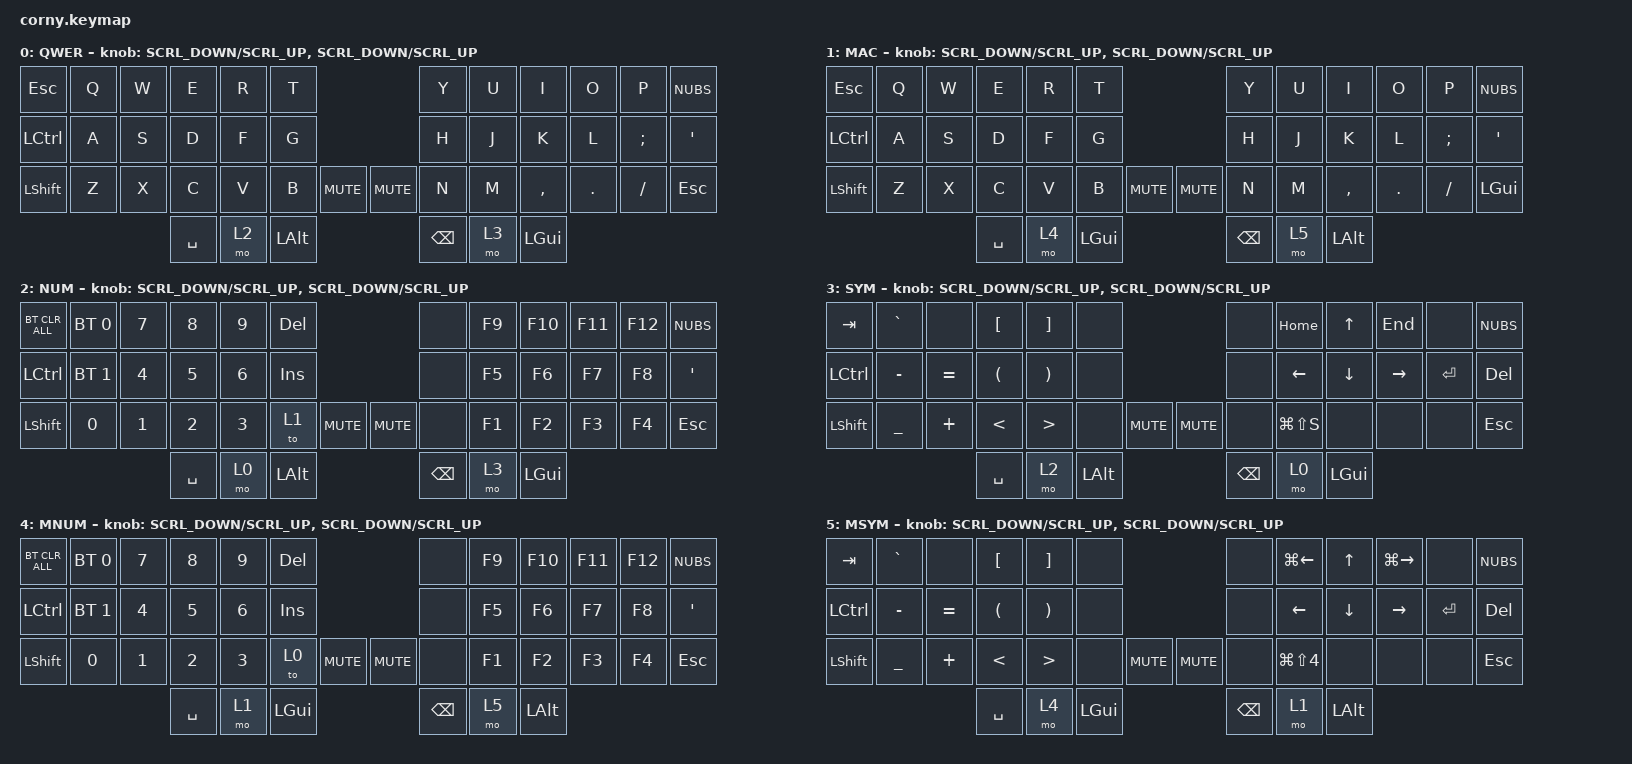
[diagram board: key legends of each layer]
#include <behaviors.dtsi>
#include <dt-bindings/zmk/keys.h>
#include <dt-bindings/zmk/bt.h>
#include <dt-bindings/zmk/outputs.h>
#include <dt-bindings/zmk/mouse.h>

#define M_HOME LG(LEFT)
#define M_END LG(RIGHT)
#define KC_CAPA LG(PSCRN)
#define KC_CAPS LG(LS(S))
#define CLS_TAB LC(W)
#define DITTO   LC(Q)
#define LAUNCHR LA(SPACE)
#define EVRTHNG LA(LS(F))
#define ALT_TAB LA(TAB)
#define DSCD_MT LC(M)

/ {
        behaviors {
        scroll_encoder: scroll_encoder {
            compatible = "zmk,behavior-sensor-rotate-var";
            #sensor-binding-cells = <2>;
            bindings = <&msc>, <&msc>;
            tap-ms = <20>;
        };
    };
};

/ {
    keymap {
        compatible = "zmk,keymap";

        QWER {
            bindings = <
                &kp ESC           &kp Q            &kp W      &kp E      &kp R      &kp T                             &kp Y      &kp U          &kp I      &kp O      &kp P      &kp NUBS
                &kp LCTRL         &kp A            &kp S      &kp D      &kp F      &kp G                             &kp H      &kp J          &kp K      &kp L      &kp SEMI   &kp SQT
                &kp LSHFT         &kp Z            &kp X      &kp C      &kp V      &kp B     &kp C_MUTE  &kp C_MUTE  &kp N      &kp M          &kp COMMA  &kp DOT    &kp FSLH   &kp ESC
                                                              &kp SPACE  &mo 2      &kp LALT                          &kp BSPC   &mo 3          &kp LGUI
            >;
            sensor-bindings = <&scroll_encoder SCRL_DOWN SCRL_UP &scroll_encoder SCRL_DOWN SCRL_UP>;
        };
        MAC {
            bindings = <
                &kp ESC           &kp Q            &kp W      &kp E      &kp R      &kp T                             &kp Y      &kp U          &kp I      &kp O      &kp P      &kp NUBS
                &kp LCTRL         &kp A            &kp S      &kp D      &kp F      &kp G                             &kp H      &kp J          &kp K      &kp L      &kp SEMI   &kp SQT
                &kp LSHFT         &kp Z            &kp X      &kp C      &kp V      &kp B     &kp C_MUTE  &kp C_MUTE  &kp N      &kp M          &kp COMMA  &kp DOT    &kp FSLH   &kp LGUI
                                                              &kp SPACE  &mo 4      &kp LGUI                          &kp BSPC   &mo 5          &kp LALT
            >;
            sensor-bindings = <&scroll_encoder SCRL_DOWN SCRL_UP &scroll_encoder SCRL_DOWN SCRL_UP>;
        };
        NUM {
            bindings = <
                &bt BT_CLR_ALL    &bt BT_SEL 0     &kp N7     &kp N8     &kp N9     &kp DEL                           &none      &kp F9         &kp F10    &kp F11    &kp F12    &kp NUBS
                &kp LCTRL         &bt BT_SEL 1     &kp N4     &kp N5     &kp N6     &kp INS                           &none      &kp F5         &kp F6     &kp F7     &kp F8     &kp SQT
                &kp LSHFT         &kp N0           &kp N1     &kp N2     &kp N3     &to 1     &kp C_MUTE  &kp C_MUTE  &none      &kp F1         &kp F2     &kp F3     &kp F4     &kp ESC
                                                              &kp SPACE  &mo 0      &kp LALT                          &kp BSPC   &mo 3          &kp LGUI
            >;
            sensor-bindings = <&scroll_encoder SCRL_DOWN SCRL_UP &scroll_encoder SCRL_DOWN SCRL_UP>;
        };
        SYM {
            bindings = <
                &kp TAB           &kp GRAVE        &none      &kp LBKT   &kp RBKT   &none                             &none      &kp HOME       &kp UP     &kp END    &none     &kp NUBS
                &kp LCTRL         &kp MINUS        &kp EQUAL  &kp LPAR   &kp RPAR   &none                             &none      &kp LEFT       &kp DOWN   &kp RIGHT  &kp RET   &kp DEL
                &kp LSHFT         &kp UNDER        &kp PLUS   &kp LT     &kp GT     &none     &kp C_MUTE  &kp C_MUTE  &none      &kp LG(LS(S))  &none      &none      &none     &kp ESC
                                                              &kp SPACE  &mo 2      &kp LALT                          &kp BSPC   &mo 0          &kp LGUI
            >;
            sensor-bindings = <&scroll_encoder SCRL_DOWN SCRL_UP &scroll_encoder SCRL_DOWN SCRL_UP>;
        };
        MNUM {
            bindings = <
                &bt BT_CLR_ALL    &bt BT_SEL 0     &kp N7     &kp N8     &kp N9     &kp DEL                           &none      &kp F9         &kp F10    &kp F11    &kp F12    &kp NUBS
                &kp LCTRL         &bt BT_SEL 1     &kp N4     &kp N5     &kp N6     &kp INS                           &none      &kp F5         &kp F6     &kp F7     &kp F8     &kp SQT
                &kp LSHFT         &kp N0           &kp N1     &kp N2     &kp N3     &to 0     &kp C_MUTE  &kp C_MUTE  &none      &kp F1         &kp F2     &kp F3     &kp F4     &kp ESC
                                                              &kp SPACE  &mo 1      &kp LGUI                          &kp BSPC   &mo 5          &kp LALT
            >;
            sensor-bindings = <&scroll_encoder SCRL_DOWN SCRL_UP &scroll_encoder SCRL_DOWN SCRL_UP>;
        };
        MSYM {
            bindings = <
                &kp TAB           &kp GRAVE        &none      &kp LBKT   &kp RBKT   &none                             &none      &kp M_HOME     &kp UP     &kp M_END  &none     &kp NUBS
                &kp LCTRL         &kp MINUS        &kp EQUAL  &kp LPAR   &kp RPAR   &none                             &none      &kp LEFT       &kp DOWN   &kp RIGHT  &kp RET   &kp DEL
                &kp LSHFT         &kp UNDER        &kp PLUS   &kp LT     &kp GT     &none     &kp C_MUTE  &kp C_MUTE  &none      &kp LG(LS(4))  &none      &none      &none     &kp ESC
                                                              &kp SPACE  &mo 4      &kp LGUI                          &kp BSPC   &mo 1          &kp LALT
            >;
            sensor-bindings = <&scroll_encoder SCRL_DOWN SCRL_UP &scroll_encoder SCRL_DOWN SCRL_UP>;

       };
    };

};
